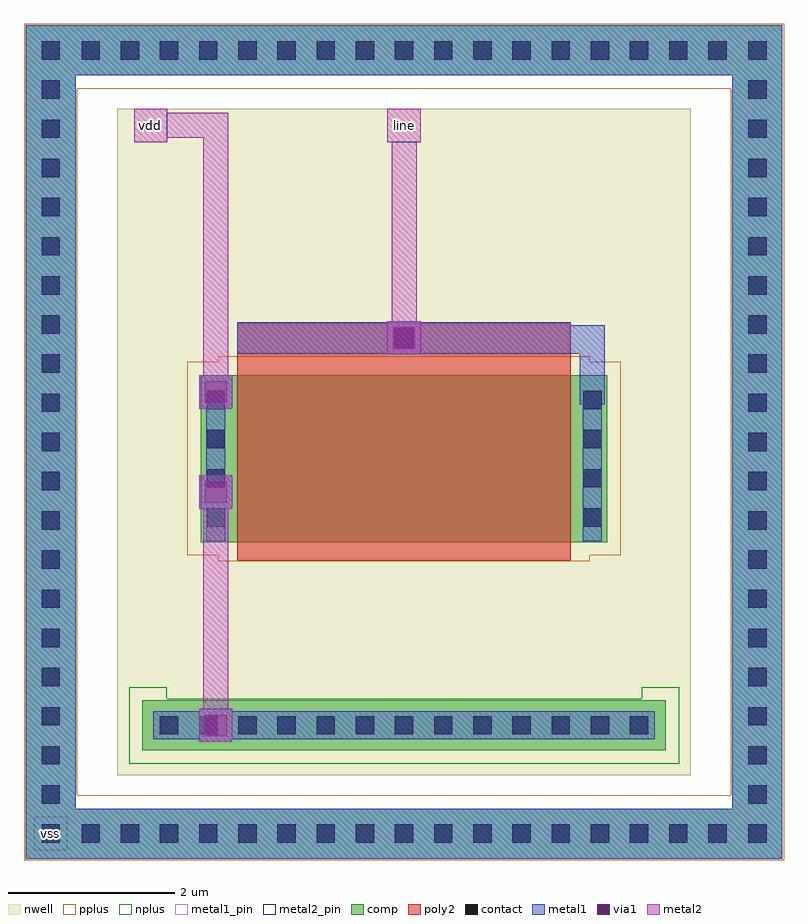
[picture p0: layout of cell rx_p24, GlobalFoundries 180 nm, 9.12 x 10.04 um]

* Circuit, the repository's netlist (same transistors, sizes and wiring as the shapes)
* NGSPICE file created from rx_p24.ext - technology: gf180mcuD

.subckt p_w2_l4 a_400_n200# a_n400_n244# w_n574_n330# a_n488_n200#
X0 a_400_n200# a_n400_n244# a_n488_n200# w_n574_n330# pfet_03v3 ad=0.88p pd=4.88u as=0.88p ps=4.88u w=2u l=4u
.ends

.subckt rx_p24 line vdd vss
XD line line vdd vdd p_w2_l4
.ends

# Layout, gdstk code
import gdstk
lib = gdstk.Library(unit=1e-6, precision=1e-09)
def R(c, l, rs):  # rectangles x0, y0, x1, y1
    for r in rs: c.add(gdstk.rectangle(r[:2], r[2:], *l))
def A(c, l, x, y, w, h, nx, ny, dx, dy):  # array of equal rectangles
    R(c, l, [(x+i*dx, y+j*dy, x+i*dx+w, y+j*dy+h) for i in range(nx) for j in range(ny)])
nwell = (21, 0)
comp = (22, 0)
poly2 = (30, 0)
pplus = (31, 0)
nplus = (32, 0)
contact = (33, 0)
metal1 = (34, 0)
metal1_pin = (34, 10)
via1 = (35, 0)
metal2 = (36, 0)
metal2_pin = (36, 10)

p_w2_l4 = lib.new_cell('p_w2_l4')
R(p_w2_l4, nwell, [(-2.87,-1.65,2.87,1.65)])
R(p_w2_l4, comp, [(-2.44,-1,2.44,1)])
R(p_w2_l4, poly2, [(-2,-1.22,2,1.22)])
R(p_w2_l4, pplus, [(-2.23,-1.23,2.23,-1.16), (-2.6,-1.16,2.6,1.16), (-2.23,1.16,2.23,1.23)])
A(p_w2_l4, contact, -2.37, -0.815, 0.22, 0.22, 1, 4, 0, 0.47)
A(p_w2_l4, contact, 2.15, -0.815, 0.22, 0.22, 1, 4, 0, 0.47)
R(p_w2_l4, metal1, [(-2.375,-0.99,-2.145,0.99), (2.145,-0.99,2.375,0.99)])

rx_p24 = lib.new_cell('rx_p24')
R(rx_p24, nwell, [(1.1,1,7.98,9)])
R(rx_p24, comp, [(0,0,9.08,0.6), (0,0.6,0.6,9.4), (8.48,0.6,9.08,9.4), (1.4,1.3,7.68,1.9), (0,9.4,9.08,10)])
R(rx_p24, poly2, [(2.54,5.8,6.54,6.43)])
R(rx_p24, pplus, [(-0.02,-0.02,9.1,0.76), (-0.02,0.76,0.62,9.24), (8.46,0.76,9.1,9.24), (-0.02,9.24,9.1,10.02)])
R(rx_p24, nplus, [(1.24,1.14,7.84,1.92), (1.24,1.92,1.69,2.06), (7.39,1.92,7.84,2.06)])
A(rx_p24, contact, 0.19, 0.19, 0.22, 0.22, 1, 21, 0, 0.47)
A(rx_p24, contact, 0.67, 0.19, 0.22, 0.22, 17, 2, 0.47, 9.4)
A(rx_p24, contact, 8.67, 0.19, 0.22, 0.22, 1, 21, 0, 0.47)
A(rx_p24, contact, 1.61, 1.49, 0.22, 0.22, 13, 1, 0.47, 0)
R(rx_p24, contact, [(4.43,6.14,4.65,6.36)])
R(rx_p24, metal1, [(0,0,9.08,0.6), (0,0.6,0.6,9.4), (8.48,0.6,9.08,9.4), (2.08,1.4,2.48,1.43), (1.53,1.43,7.55,1.77), (2.08,1.77,2.48,1.8), (2.08,4.2,2.48,4.6), (2.08,5.4,2.48,5.8), (6.65,5.45,6.95,6.06), (4.34,6.05,4.74,6.06), (2.54,6.06,6.95,6.4), (2.54,6.4,6.54,6.44), (4.34,6.44,4.74,6.45), (0,9.4,9.08,10)])
R(rx_p24, metal1_pin, [(0.1,0.1,0.5,0.5)])
R(rx_p24, via1, [(2.15,1.47,2.41,1.73), (2.15,4.27,2.41,4.53), (2.15,5.47,2.41,5.73), (4.41,6.12,4.67,6.38)])
R(rx_p24, metal2, [(2.08,1.4,2.48,1.8), (2.13,1.8,2.43,4.2), (2.08,4.2,2.48,4.6), (2.08,5.4,2.48,5.8), (2.13,5.8,2.43,8.65), (4.34,6.05,4.74,6.45), (4.39,6.45,4.69,8.6), (1.3,8.6,1.7,8.65), (4.34,8.6,4.74,9), (1.3,8.65,2.43,8.95), (1.3,8.95,1.7,9)])
R(rx_p24, metal2_pin, [(1.3,8.6,1.7,9), (4.34,8.6,4.74,9)])
rx_p24.add(gdstk.Reference(p_w2_l4, (4.54,4.8)))
rx_p24.add(gdstk.Label('line', (4.54,8.8), layer=36, texttype=10))
rx_p24.add(gdstk.Label('vdd', (1.5,8.8), layer=36, texttype=10))
rx_p24.add(gdstk.Label('vss', (0.3,0.3), layer=34, texttype=10))

lib.write_gds('rx_p24.gds')
